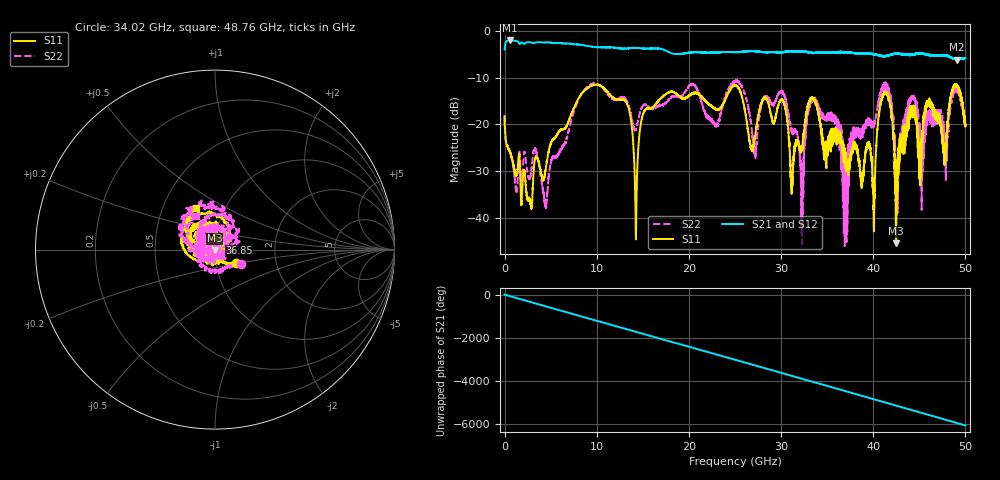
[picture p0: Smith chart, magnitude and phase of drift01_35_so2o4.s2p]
!Created with skrf (http://scikit-rf.org).
# Hz S RI R 50.0
!freq ReS11 ImS11 ReS21 ImS21 ReS12 ImS12 ReS22 ImS22
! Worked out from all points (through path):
!   10001 points, 300 kHz to 50 GHz, reference 50 ohm
!   highest |S21| = -2.00 dB at 570.3 MHz (marker M1); lowest = -6.1 dB at 49.05 GHz (marker M2)
!   group delay of S21, straight-line fit = 336 ps
!   lowest |S11| = -45.5 dB at 42.49 GHz (marker M3), VSWR 1.01, Z = 49.7 - j0.466 ohm
!   |S11| at or under -10 dB: start of sweep to end of sweep
!   |S22| runs from -46.1 to -10.5 dB; largest |S21 - S12| = 0.02
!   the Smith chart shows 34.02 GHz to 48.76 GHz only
!   S11 on the Smith chart (normalised r, x): 34.02 GHz: 1.25, -0.19; 36.85 GHz: 1.05, +0.08; 48.76 GHz: 0.73, +0.36
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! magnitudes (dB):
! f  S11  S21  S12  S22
! 300 kHz  -18.3  -4.0  -4.0  -18.0
! 570.3 MHz  -26.0  -2.0  -2.0  -26.1
! 4.435 GHz  -29.9  -2.4  -2.4  -37.2
! 8.335 GHz  -13.5  -3.0  -3.0  -13.5
! 13.17 GHz  -15.1  -3.7  -3.7  -14.6
! 14.25 GHz  -44.6  -3.6  -3.6  -21.1
! 16.67 GHz  -14.9  -3.7  -3.7  -15.9
! 25 GHz  -11.6  -4.5  -4.5  -10.9
! 27.15 GHz  -22.6  -4.3  -4.3  -26.0
! 30.2 GHz  -15.0  -4.5  -4.5  -13.4
! 31.15 GHz  -32.3  -4.4  -4.4  -21.4
! 32.26 GHz  -25.1  -4.4  -4.4  -39.3
! 33.34 GHz  -14.3  -4.7  -4.6  -14.6
! 34.02 GHz  -17.1  -4.7  -4.6  -15.6
! 36.85 GHz  -26.8  -4.5  -4.4  -34.6
! 40.04 GHz  -38.1  -4.9  -4.9  -20.4
! 41.67 GHz  -14.4  -5.1  -5.1  -12.4
! 42.49 GHz  -45.5  -4.8  -4.9  -30.3
! 47.75 GHz  -28.6  -5.1  -5.1  -25.5
! 48.76 GHz  -11.9  -5.9  -5.9  -13.3
! 49.05 GHz  -11.9  -6.1  -6.0  -12.5
! 50 GHz  -20.1  -5.8  -5.8  -19.8
